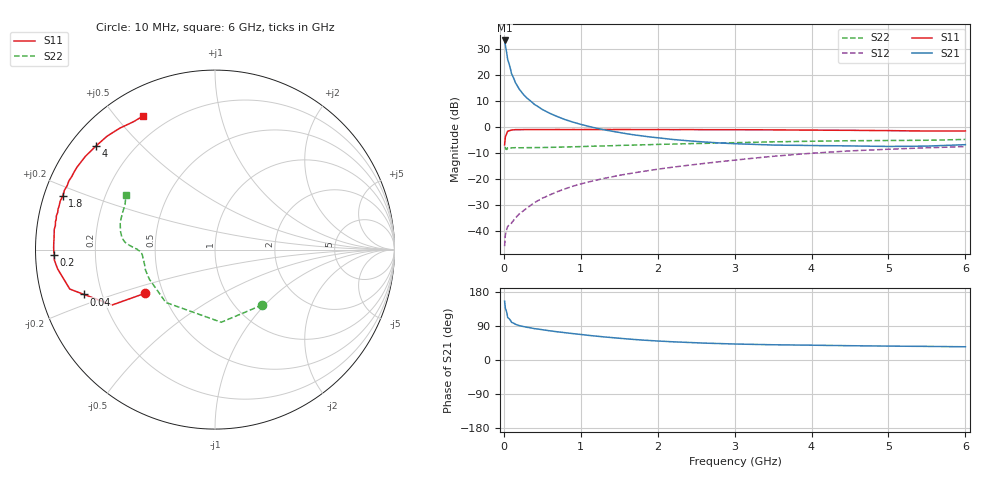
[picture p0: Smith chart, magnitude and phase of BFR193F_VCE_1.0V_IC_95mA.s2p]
! Infineon Technologies  Discrete & RF Semiconductors
! BFR193F
! VCE =  1.0 V,  IC =  95 mA
! Common Emitter S-Parameters:  Jan 2017
# GHz  S  MA  R  50
!  f  S11  S21  S12  S22
! GHz  MAG  ANG  MAG  ANG  MAG  ANG  MAG  ANG
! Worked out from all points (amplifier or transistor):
!   77 points, 10 MHz to 6 GHz, reference 50 ohm
!   highest |S21| = 33.4 dB at 10 MHz (marker M1)
!   |S21| within 3 dB of that: start of sweep to 26.92 MHz
!   unconditionally stable (mu >= 1): start of sweep to 16.01 MHz; 193.2 MHz to end of sweep
!   at 130 MHz: K = 0.87, MSG = 27.2 dB, |S12| = -35.8 dB
!   at 2.2 GHz: K = 1.17, MAG = 2.9 dB, |S12| = -15.4 dB
!   at 6 GHz: K = 1.07, MAG = -1.2 dB, |S12| = -7.5 dB
!   S11 on the Smith chart (normalised r, x): 10 MHz: 0.40, -0.24; 40 MHz: 0.13, -0.16; 200 MHz: 0.05, -0.02; 1.8 GHz: 0.05, +0.17; 4 GHz: 0.07, +0.37; 6 GHz: 0.11, +0.59
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0.01  0.4588 -148.0  46.96 155.1  0.0051 62.9  0.4059 -49.4
0.02  0.6508 -151.7  37.76 136.4  0.0085 54.2  0.4062 -85.1
0.04  0.7717 -161.1  25.44 123.8  0.011 44.3  0.3729 -117.4
0.05  0.8383 -164.8  20.16 112.0  0.0123 40.9  0.4025 -133.0
0.1  0.8834 -173.0  10.73 99.4  0.0142 44.2  0.4012 -155.9
0.15  0.8967 -176.2  7.247 94.3  0.0177 50.9  0.4037 -163.7
0.2  0.8962 -178.2  5.437 90.8  0.0213 55.7  0.4013 -167.6
0.25  0.8983 -179.7  4.357 88.5  0.0243 60.8  0.402 -170.6
0.3  0.899 179.2  3.64 86.4  0.0276 62.9  0.4037 -172.1
0.4  0.8991 177.2  2.734 82.7  0.0353 67.9  0.4046 -174.5
0.5  0.8989 175.8  2.199 79.9  0.0428 70.8  0.4059 -175.9
0.6  0.9006 174.2  1.845 77.0  0.0497 71.6  0.409 -177.0
0.8  0.8993 171.6  1.396 72.0  0.0652 73.3  0.4159 -178.4
1.1  0.9036 168.0  1.04 65.0  0.088 74.1  0.4279 -179.5
1.4  0.9018 164.6  0.84 59.2  0.1101 73.8  0.4396 179.4
1.8  0.9007 160.5  0.679 52.6  0.1399 72.7  0.4573 178.2
2.1  0.8994 157.6  0.603 49.1  0.1625 71.8  0.4698 177.6
3.1  0.8939 148.2  0.475 41.8  0.2403 67.3  0.5073 174.8
4  0.8791 138.9  0.444 39.1  0.3147 60.8  0.5367 168.9
4.1  0.8771 137.8  0.442 38.8  0.3215 59.8  0.539 167.9
5.1  0.8562 127.0  0.427 36.5  0.3812 51.1  0.5555 157.2
6  0.8455 118.2  0.461 34.9  0.4233 44.6  0.5814 148.5
